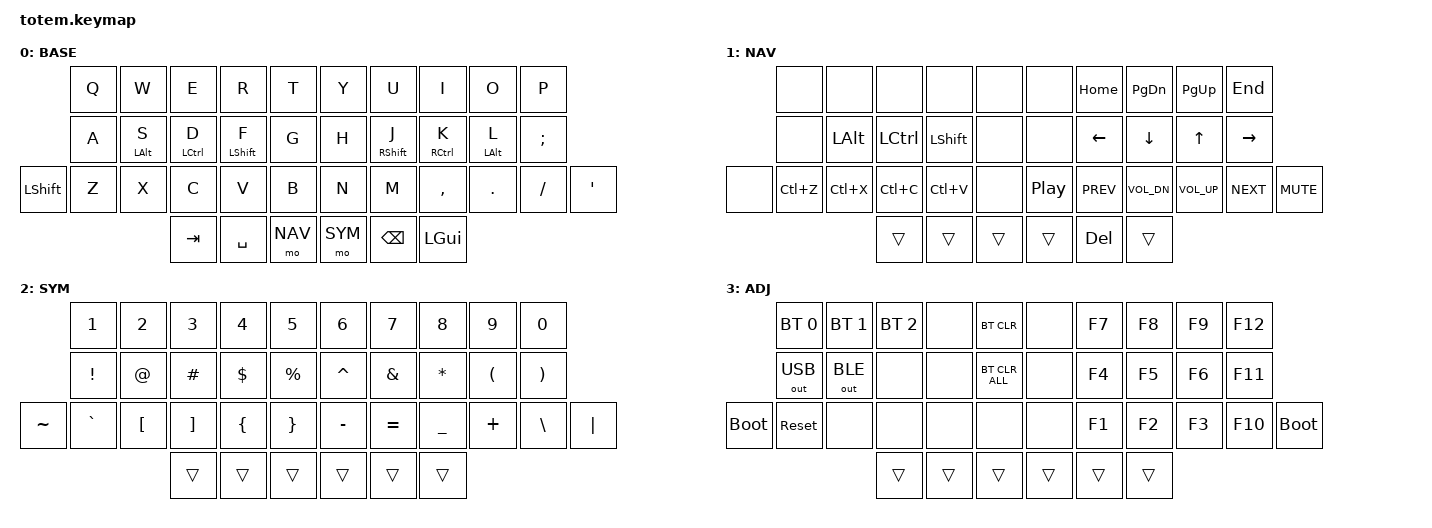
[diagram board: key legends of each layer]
//
//                                                        ▀▀▀▀▀     ▀▀▀▀▀          ▀▀█▀▀
//                                                        ▄▀▀▀▄  ▄  ▄▀▀▀▄  ▄  ▄▀▀▀▄  █  ▄▀▀▀▄
//                                                        █   █  █  █   █  █  █   █  █  █   █
//                                                         ▀▀▀   █   ▀▀▀   █   ▀▀▀   ▀   ▀▀▀
//                                                               █      ▄▄▄█▄▄▄    █   █  
//                                                               ▀      █  █  █     █▄█
//                                                             ▀▀▀▀▀    █  █  █      ▀
//                                                                      ▀  ▀  ▀
//
// ▄▄▄▄▄▄▄▄▄▄▄▄▄▄▄▄▄▄▄▄▄▄▄▄▄▄▄▄▄▄▄▄▄▄▄▄▄▄▄▄▄▄▄▄▄▄▄▄▄▄▄▄▄▄▄▄▄▄▄▄▄▄▄▄▄▄▄▄▄▄▄▄▄▄▄▄▄▄▄▄▄▄▄▄▄▄▄▄▄▄▄▄▄▄▄▄▄▄▄▄▄▄▄▄▄▄▄▄▄▄▄▄▄▄▄▄▄▄▄▄▄▄▄▄▄▄▄▄▄▄▄▄▄▄▄▄▄▄▄▄▄▄▄▄▄▄▄▄▄
       


#include <behaviors.dtsi>
#include <dt-bindings/zmk/keys.h>
#include <dt-bindings/zmk/bt.h>
#include <dt-bindings/zmk/outputs.h>

#define BASE 0
#define NAV  1
#define SYM  2
#define ADJ  3

// The OS layout is set to Colemak, so the keyboard sends the QWERTY key code
// that the OS turns into each Colemak character.
#define CM_F    E
#define CM_P    R
#define CM_G    T
#define CM_J    Y
#define CM_L    U
#define CM_U    I
#define CM_Y    O
#define CM_SCLN P
#define CM_R    S
#define CM_S    D
#define CM_T    F
#define CM_D    G
#define CM_N    J
#define CM_E    K
#define CM_I    L
#define CM_O    SEMI
#define CM_K    N

#define KEYS_L 0 1 2 3 4 10 11 12 13 14 20 21 22 23 24 25
#define KEYS_R 5 6 7 8 9 15 16 17 18 19 26 27 28 29 30 31
#define THUMBS 32 33 34 35 36 37

/ {
    behaviors {
        hml: home_row_mod_left {
            compatible = "zmk,behavior-hold-tap";
            #binding-cells = <2>;
            bindings = <&kp>, <&kp>;
            flavor = "balanced";
            tapping-term-ms = <10000>;
            quick-tap-ms = <175>;
            require-prior-idle-ms = <150>;
            hold-trigger-key-positions = <KEYS_R THUMBS>;
            hold-trigger-on-release;
        };

        hmr: home_row_mod_right {
            compatible = "zmk,behavior-hold-tap";
            #binding-cells = <2>;
            bindings = <&kp>, <&kp>;
            flavor = "balanced";
            tapping-term-ms = <10000>;
            quick-tap-ms = <175>;
            require-prior-idle-ms = <150>;
            hold-trigger-key-positions = <KEYS_L THUMBS>;
            hold-trigger-on-release;
        };
    };

    conditional_layers {
        compatible = "zmk,conditional-layers";
        adjust {
            if-layers = <NAV SYM>;
            then-layer = <ADJ>;
        };
    };

    combos {
        compatible = "zmk,combos";
        combo_enter {
            timeout-ms = <50>;
            require-prior-idle-ms = <150>;
            key-positions = <27 28>;
            bindings = <&kp RET>;
            layers = <BASE>;
        };

        combo_esc {
            timeout-ms = <50>;
            require-prior-idle-ms = <150>;
            key-positions = <23 24>;
            bindings = <&kp ESC>;
            layers = <BASE>;
        };
    };

        keymap {
                compatible = "zmk,keymap";
// ▄▄▄▄▄▄▄▄▄▄▄▄▄▄▄▄▄▄▄▄▄▄▄▄▄▄▄▄▄▄▄▄▄▄▄▄▄▄▄▄▄▄▄▄▄▄▄▄▄▄▄▄▄▄▄▄▄▄▄▄▄▄▄▄▄▄▄▄▄▄▄▄▄▄▄▄▄▄▄▄▄▄▄▄▄▄▄▄▄▄▄▄▄▄▄▄▄▄▄▄▄▄▄▄▄▄▄▄▄▄▄▄▄▄▄▄▄▄▄▄▄▄▄▄▄▄▄▄▄▄▄▄▄▄▄▄▄▄▄▄▄▄▄▄▄▄▄▄▄

                base_layer {
// ┏━━━━━━━━━━━━━━━━━━━━━━━━━━━━━━━━━━━━━━━┓
label= "BASE"                              ;
// ┗━━━━━━━━━━━━━━━━━━━━━━━━━━━━━━━━━━━━━━━┛
//             ┏━━━━━━━━━━━┳━━━━━━━━━━━┳━━━━━━━━━━━┳━━━━━━━━━━━┳━━━━━━━━━━━┓   ┏━━━━━━━━━━━┳━━━━━━━━━━━┳━━━━━━━━━━━┳━━━━━━━━━━━┳━━━━━━━━━━━┓
//             ┃     Q     ┃     W     ┃     F     ┃     P     ┃     G     ┃   ┃     J     ┃     L     ┃     U     ┃     Y     ┃     ;     ┃
//             ┣━━━━━━━━━━━╋━━━━━━━━━━━╋━━━━━━━━━━━╋━━━━━━━━━━━╋━━━━━━━━━━━┫   ┣━━━━━━━━━━━╋━━━━━━━━━━━╋━━━━━━━━━━━╋━━━━━━━━━━━╋━━━━━━━━━━━┫
//             ┃     A     ┃  R / ALT  ┃  S / CTRL ┃ T / SHIFT ┃     D     ┃   ┃     H     ┃ N / SHIFT ┃  E / CTRL ┃  I / ALT  ┃     O     ┃
// ┏━━━━━━━━━━━╋━━━━━━━━━━━╋━━━━━━━━━━━╋━━━━━━━━━━━╋━━━━━━━━━━━╋━━━━━━━━━━━┫   ┣━━━━━━━━━━━╋━━━━━━━━━━━╋━━━━━━━━━━━╋━━━━━━━━━━━╋━━━━━━━━━━━╋━━━━━━━━━━━┓
// ┃   SHIFT   ┃     Z     ┃     X     ┃     C     ┃     V     ┃     B     ┃   ┃     K     ┃     M     ┃     ,     ┃     .     ┃     /     ┃     '     ┃
// ┗━━━━━━━━━━━┻━━━━━━━━━━━┻━━━━━━━━━━━╋━━━━━━━━━━━╋━━━━━━━━━━━╋━━━━━━━━━━━┫   ┣━━━━━━━━━━━╋━━━━━━━━━━━╋━━━━━━━━━━━╋━━━━━━━━━━━┻━━━━━━━━━━━┻━━━━━━━━━━━┛
//                                     ┃    TAB    ┃   SPACE   ┃    NAV    ┃   ┃    SYM    ┃    BSPC   ┃    GUI    ┃
//                                     ┗━━━━━━━━━━━┻━━━━━━━━━━━┻━━━━━━━━━━━┛   ┗━━━━━━━━━━━┻━━━━━━━━━━━┻━━━━━━━━━━━┛
 bindings = <
// ╷           ╷           ╷           ╷           ╷           ╷           ╷   ╷           ╷           ╷           ╷           ╷           ╷           ╷

                &kp Q           &kp W           &kp CM_F        &kp CM_P        &kp CM_G            &kp CM_J        &kp CM_L        &kp CM_U        &kp CM_Y        &kp CM_SCLN
                &kp A           &hml LALT CM_R  &hml LCTRL CM_S &hml LSHFT CM_T &kp CM_D            &kp H           &hmr RSHFT CM_N &hmr RCTRL CM_E &hmr LALT CM_I  &kp CM_O
    &kp LSHFT   &kp Z           &kp X           &kp C           &kp V           &kp B               &kp CM_K        &kp M           &kp COMMA       &kp DOT         &kp FSLH        &kp SQT
                                                &kp TAB         &kp SPACE       &mo NAV             &mo SYM         &kp BSPC        &kp LGUI
                        >;
                };

// ▄▄▄▄▄▄▄▄▄▄▄▄▄▄▄▄▄▄▄▄▄▄▄▄▄▄▄▄▄▄▄▄▄▄▄▄▄▄▄▄▄▄▄▄▄▄▄▄▄▄▄▄▄▄▄▄▄▄▄▄▄▄▄▄▄▄▄▄▄▄▄▄▄▄▄▄▄▄▄▄▄▄▄▄▄▄▄▄▄▄▄▄▄▄▄▄▄▄▄▄▄▄▄▄▄▄▄▄▄▄▄▄▄▄▄▄▄▄▄▄▄▄▄▄▄▄▄▄▄▄▄▄▄▄▄▄▄▄▄▄▄▄▄▄▄▄▄▄▄


                nav_layer {
// ┏━━━━━━━━━━━━━━━━━━━━━━━━━━━━━━━━━━━━━━━┓
label= "NAV"                               ;
// ┗━━━━━━━━━━━━━━━━━━━━━━━━━━━━━━━━━━━━━━━┛
//             ┏━━━━━━━━━━━┳━━━━━━━━━━━┳━━━━━━━━━━━┳━━━━━━━━━━━┳━━━━━━━━━━━┓   ┏━━━━━━━━━━━┳━━━━━━━━━━━┳━━━━━━━━━━━┳━━━━━━━━━━━┳━━━━━━━━━━━┓
//             ┃           ┃           ┃           ┃           ┃           ┃   ┃           ┃    HOME   ┃   PG DN   ┃   PG UP   ┃    END    ┃
//             ┣━━━━━━━━━━━╋━━━━━━━━━━━╋━━━━━━━━━━━╋━━━━━━━━━━━╋━━━━━━━━━━━┫   ┣━━━━━━━━━━━╋━━━━━━━━━━━╋━━━━━━━━━━━╋━━━━━━━━━━━╋━━━━━━━━━━━┫
//             ┃           ┃    ALT    ┃    CTRL   ┃   SHIFT   ┃           ┃   ┃           ┃    LEFT   ┃    DOWN   ┃     UP    ┃   RIGHT   ┃
// ┏━━━━━━━━━━━╋━━━━━━━━━━━╋━━━━━━━━━━━╋━━━━━━━━━━━╋━━━━━━━━━━━╋━━━━━━━━━━━┫   ┣━━━━━━━━━━━╋━━━━━━━━━━━╋━━━━━━━━━━━╋━━━━━━━━━━━╋━━━━━━━━━━━╋━━━━━━━━━━━┓
// ┃           ┃    UNDO   ┃    CUT    ┃    COPY   ┃   PASTE   ┃           ┃   ┃    PLAY   ┃    PREV   ┃    VOL-   ┃    VOL+   ┃    NEXT   ┃    MUTE   ┃
// ┗━━━━━━━━━━━┻━━━━━━━━━━━┻━━━━━━━━━━━╋━━━━━━━━━━━╋━━━━━━━━━━━╋━━━━━━━━━━━┫   ┣━━━━━━━━━━━╋━━━━━━━━━━━╋━━━━━━━━━━━╋━━━━━━━━━━━┻━━━━━━━━━━━┻━━━━━━━━━━━┛
//                                     ┃           ┃           ┃    held   ┃   ┃           ┃    DEL    ┃           ┃
//                                     ┗━━━━━━━━━━━┻━━━━━━━━━━━┻━━━━━━━━━━━┛   ┗━━━━━━━━━━━┻━━━━━━━━━━━┻━━━━━━━━━━━┛
 bindings = <
// ╷           ╷           ╷           ╷           ╷           ╷           ╷   ╷           ╷           ╷           ╷           ╷           ╷           ╷

                &none           &none           &none           &none           &none               &none           &kp HOME        &kp PG_DN       &kp PG_UP       &kp END
                &none           &kp LALT        &kp LCTRL       &kp LSHFT       &none               &none           &kp LEFT        &kp DOWN        &kp UP          &kp RIGHT
    &none       &kp LC(Z)       &kp LC(X)       &kp LC(C)       &kp LC(V)       &none               &kp C_PP        &kp C_PREV      &kp C_VOL_DN    &kp C_VOL_UP    &kp C_NEXT      &kp C_MUTE
                                                &trans          &trans          &trans              &trans          &kp DEL         &trans
                        >;
                };

// ▄▄▄▄▄▄▄▄▄▄▄▄▄▄▄▄▄▄▄▄▄▄▄▄▄▄▄▄▄▄▄▄▄▄▄▄▄▄▄▄▄▄▄▄▄▄▄▄▄▄▄▄▄▄▄▄▄▄▄▄▄▄▄▄▄▄▄▄▄▄▄▄▄▄▄▄▄▄▄▄▄▄▄▄▄▄▄▄▄▄▄▄▄▄▄▄▄▄▄▄▄▄▄▄▄▄▄▄▄▄▄▄▄▄▄▄▄▄▄▄▄▄▄▄▄▄▄▄▄▄▄▄▄▄▄▄▄▄▄▄▄▄▄▄▄▄▄▄▄


                sym_layer {
// ┏━━━━━━━━━━━━━━━━━━━━━━━━━━━━━━━━━━━━━━━┓
label= "SYM"                               ;
// ┗━━━━━━━━━━━━━━━━━━━━━━━━━━━━━━━━━━━━━━━┛
//             ┏━━━━━━━━━━━┳━━━━━━━━━━━┳━━━━━━━━━━━┳━━━━━━━━━━━┳━━━━━━━━━━━┓   ┏━━━━━━━━━━━┳━━━━━━━━━━━┳━━━━━━━━━━━┳━━━━━━━━━━━┳━━━━━━━━━━━┓
//             ┃     1     ┃     2     ┃     3     ┃     4     ┃     5     ┃   ┃     6     ┃     7     ┃     8     ┃     9     ┃     0     ┃
//             ┣━━━━━━━━━━━╋━━━━━━━━━━━╋━━━━━━━━━━━╋━━━━━━━━━━━╋━━━━━━━━━━━┫   ┣━━━━━━━━━━━╋━━━━━━━━━━━╋━━━━━━━━━━━╋━━━━━━━━━━━╋━━━━━━━━━━━┫
//             ┃     !     ┃     @     ┃     #     ┃     $     ┃     %     ┃   ┃     ^     ┃     &     ┃     *     ┃     (     ┃     )     ┃
// ┏━━━━━━━━━━━╋━━━━━━━━━━━╋━━━━━━━━━━━╋━━━━━━━━━━━╋━━━━━━━━━━━╋━━━━━━━━━━━┫   ┣━━━━━━━━━━━╋━━━━━━━━━━━╋━━━━━━━━━━━╋━━━━━━━━━━━╋━━━━━━━━━━━╋━━━━━━━━━━━┓
// ┃     ~     ┃     `     ┃     [     ┃     ]     ┃     {     ┃     }     ┃   ┃     -     ┃     =     ┃     _     ┃     +     ┃     \     ┃     |     ┃
// ┗━━━━━━━━━━━┻━━━━━━━━━━━┻━━━━━━━━━━━╋━━━━━━━━━━━╋━━━━━━━━━━━╋━━━━━━━━━━━┫   ┣━━━━━━━━━━━╋━━━━━━━━━━━╋━━━━━━━━━━━╋━━━━━━━━━━━┻━━━━━━━━━━━┻━━━━━━━━━━━┛
//                                     ┃           ┃           ┃           ┃   ┃    held   ┃           ┃           ┃
//                                     ┗━━━━━━━━━━━┻━━━━━━━━━━━┻━━━━━━━━━━━┛   ┗━━━━━━━━━━━┻━━━━━━━━━━━┻━━━━━━━━━━━┛
 bindings = <
// ╷           ╷           ╷           ╷           ╷           ╷           ╷   ╷           ╷           ╷           ╷           ╷           ╷           ╷

                &kp N1          &kp N2          &kp N3          &kp N4          &kp N5              &kp N6          &kp N7          &kp N8          &kp N9          &kp N0
                &kp EXCL        &kp AT          &kp HASH        &kp DLLR        &kp PRCNT           &kp CARET       &kp AMPS        &kp STAR        &kp LPAR        &kp RPAR
    &kp TILDE   &kp GRAVE       &kp LBKT        &kp RBKT        &kp LBRC        &kp RBRC            &kp MINUS       &kp EQUAL       &kp UNDER       &kp PLUS        &kp BSLH        &kp PIPE
                                                &trans          &trans          &trans              &trans          &trans          &trans
                        >;
                };

// ▄▄▄▄▄▄▄▄▄▄▄▄▄▄▄▄▄▄▄▄▄▄▄▄▄▄▄▄▄▄▄▄▄▄▄▄▄▄▄▄▄▄▄▄▄▄▄▄▄▄▄▄▄▄▄▄▄▄▄▄▄▄▄▄▄▄▄▄▄▄▄▄▄▄▄▄▄▄▄▄▄▄▄▄▄▄▄▄▄▄▄▄▄▄▄▄▄▄▄▄▄▄▄▄▄▄▄▄▄▄▄▄▄▄▄▄▄▄▄▄▄▄▄▄▄▄▄▄▄▄▄▄▄▄▄▄▄▄▄▄▄▄▄▄▄▄▄▄▄


                adjust_layer {
// ┏━━━━━━━━━━━━━━━━━━━━━━━━━━━━━━━━━━━━━━━┓
label= "ADJ"                               ;
// ┗━━━━━━━━━━━━━━━━━━━━━━━━━━━━━━━━━━━━━━━┛
//             ┏━━━━━━━━━━━┳━━━━━━━━━━━┳━━━━━━━━━━━┳━━━━━━━━━━━┳━━━━━━━━━━━┓   ┏━━━━━━━━━━━┳━━━━━━━━━━━┳━━━━━━━━━━━┳━━━━━━━━━━━┳━━━━━━━━━━━┓
//             ┃    BT 0   ┃    BT 1   ┃    BT 2   ┃           ┃   BT CLR  ┃   ┃           ┃     F7    ┃     F8    ┃     F9    ┃    F12    ┃
//             ┣━━━━━━━━━━━╋━━━━━━━━━━━╋━━━━━━━━━━━╋━━━━━━━━━━━╋━━━━━━━━━━━┫   ┣━━━━━━━━━━━╋━━━━━━━━━━━╋━━━━━━━━━━━╋━━━━━━━━━━━╋━━━━━━━━━━━┫
//             ┃  OUT USB  ┃  OUT BLE  ┃           ┃           ┃ BT CLR ALL┃   ┃           ┃     F4    ┃     F5    ┃     F6    ┃    F11    ┃
// ┏━━━━━━━━━━━╋━━━━━━━━━━━╋━━━━━━━━━━━╋━━━━━━━━━━━╋━━━━━━━━━━━╋━━━━━━━━━━━┫   ┣━━━━━━━━━━━╋━━━━━━━━━━━╋━━━━━━━━━━━╋━━━━━━━━━━━╋━━━━━━━━━━━╋━━━━━━━━━━━┓
// ┃ BOOTLOADER┃   RESET   ┃           ┃           ┃           ┃           ┃   ┃           ┃     F1    ┃     F2    ┃     F3    ┃    F10    ┃ BOOTLOADER┃
// ┗━━━━━━━━━━━┻━━━━━━━━━━━┻━━━━━━━━━━━╋━━━━━━━━━━━╋━━━━━━━━━━━╋━━━━━━━━━━━┫   ┣━━━━━━━━━━━╋━━━━━━━━━━━╋━━━━━━━━━━━╋━━━━━━━━━━━┻━━━━━━━━━━━┻━━━━━━━━━━━┛
//                                     ┃           ┃           ┃    held   ┃   ┃    held   ┃           ┃           ┃
//                                     ┗━━━━━━━━━━━┻━━━━━━━━━━━┻━━━━━━━━━━━┛   ┗━━━━━━━━━━━┻━━━━━━━━━━━┻━━━━━━━━━━━┛
 bindings = <
// ╷           ╷           ╷           ╷           ╷           ╷           ╷   ╷           ╷           ╷           ╷           ╷           ╷           ╷

                &bt BT_SEL 0    &bt BT_SEL 1    &bt BT_SEL 2    &none           &bt BT_CLR          &none           &kp F7          &kp F8          &kp F9          &kp F12
                &out OUT_USB    &out OUT_BLE    &none           &none           &bt BT_CLR_ALL      &none           &kp F4          &kp F5          &kp F6          &kp F11
    &bootloader &sys_reset      &none           &none           &none           &none               &none           &kp F1          &kp F2          &kp F3          &kp F10         &bootloader
                                                &trans          &trans          &trans              &trans          &trans          &trans
                        >;
                };
        };
};
